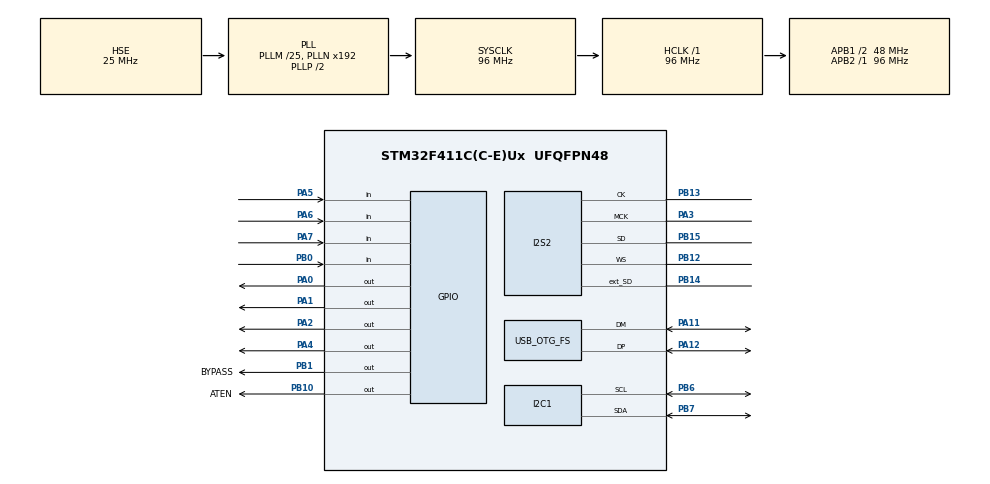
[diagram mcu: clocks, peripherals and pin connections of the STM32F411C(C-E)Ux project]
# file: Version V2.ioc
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Dma.I2S2_EXT_RX.1.Direction=DMA_PERIPH_TO_MEMORY
Dma.I2S2_EXT_RX.1.FIFOMode=DMA_FIFOMODE_DISABLE
Dma.I2S2_EXT_RX.1.Instance=DMA1_Stream3
Dma.I2S2_EXT_RX.1.MemDataAlignment=DMA_MDATAALIGN_HALFWORD
Dma.I2S2_EXT_RX.1.MemInc=DMA_MINC_ENABLE
Dma.I2S2_EXT_RX.1.Mode=DMA_CIRCULAR
Dma.I2S2_EXT_RX.1.PeriphDataAlignment=DMA_PDATAALIGN_HALFWORD
Dma.I2S2_EXT_RX.1.PeriphInc=DMA_PINC_DISABLE
Dma.I2S2_EXT_RX.1.Priority=DMA_PRIORITY_LOW
Dma.Request0=SPI2_TX
Dma.Request1=I2S2_EXT_RX
Dma.SPI2_TX.0.Direction=DMA_MEMORY_TO_PERIPH
Dma.SPI2_TX.0.FIFOMode=DMA_FIFOMODE_DISABLE
Dma.SPI2_TX.0.Instance=DMA1_Stream4
Dma.SPI2_TX.0.MemDataAlignment=DMA_MDATAALIGN_HALFWORD
Dma.SPI2_TX.0.MemInc=DMA_MINC_ENABLE
Dma.SPI2_TX.0.Mode=DMA_CIRCULAR
Dma.SPI2_TX.0.PeriphDataAlignment=DMA_PDATAALIGN_HALFWORD
Dma.SPI2_TX.0.PeriphInc=DMA_PINC_DISABLE
Dma.SPI2_TX.0.Priority=DMA_PRIORITY_LOW
I2S2.AudioFreq=I2S_AUDIOFREQ_96K
I2S2.DataFormat=I2S_DATAFORMAT_24B
I2S2.ErrorAudioFreq=1.72 %
I2S2.FullDuplexMode=I2S_FULLDUPLEXMODE_ENABLE
I2S2.Instance=SPI$Index
I2S2.RealAudioFreq=97.656 KHz
I2S2.VirtualMode=I2S_MODE_MASTER
Mcu.Family=STM32F4
Mcu.Name=STM32F411C(C-E)Ux
Mcu.Package=UFQFPN48
NVIC.DMA1_Stream3_IRQn=true\:0\:0\:false\:false\:true\:false\:true\:true
NVIC.DMA1_Stream4_IRQn=true\:0\:0\:false\:false\:true\:false\:true\:true
NVIC.OTG_FS_IRQn=true\:0\:0\:false\:false\:true\:false\:true\:true
NVIC.PriorityGroup=NVIC_PRIORITYGROUP_4
PA0-WKUP.PinState=GPIO_PIN_SET
PA0-WKUP.Signal=GPIO_Output
PA1.PinState=GPIO_PIN_SET
PA1.Signal=GPIO_Output
PA11.Mode=Device_Only
PA11.Signal=USB_OTG_FS_DM
PA12.Mode=Device_Only
PA12.Signal=USB_OTG_FS_DP
PA13.Mode=Serial_Wire
PA13.Signal=SYS_JTMS-SWDIO
PA14.Mode=Serial_Wire
PA14.Signal=SYS_JTCK-SWCLK
PA2.PinState=GPIO_PIN_SET
PA2.Signal=GPIO_Output
PA3.Mode=Master_Clock_Activated
PA3.Signal=I2S2_MCK
PA4.PinState=GPIO_PIN_SET
PA4.Signal=GPIO_Output
PA5.GPIO_PuPd=GPIO_PULLUP
PA5.Signal=GPIO_Input
PA6.GPIO_PuPd=GPIO_PULLUP
PA6.Signal=GPIO_Input
PA7.GPIO_PuPd=GPIO_PULLUP
PA7.Signal=GPIO_Input
PB0.GPIO_PuPd=GPIO_PULLUP
PB0.Signal=GPIO_Input
PB1.GPIO_Label=BYPASS
PB1.Signal=GPIO_Output
PB10.GPIO_Label=ATEN
PB10.Signal=GPIO_Output
PB12.Mode=Full_Duplex_Master
PB12.Signal=I2S2_WS
PB13.Mode=Full_Duplex_Master
PB13.Signal=I2S2_CK
PB14.Mode=Full_Duplex_Master
PB14.Signal=I2S2_ext_SD
PB15.Mode=Full_Duplex_Master
PB15.Signal=I2S2_SD
PB6.Mode=I2C
PB6.Signal=I2C1_SCL
PB7.Mode=I2C
PB7.Signal=I2C1_SDA
PH0\ -\ OSC_IN.Mode=HSE-External-Oscillator
PH0\ -\ OSC_IN.Signal=RCC_OSC_IN
PH1\ -\ OSC_OUT.Mode=HSE-External-Oscillator
PH1\ -\ OSC_OUT.Signal=RCC_OSC_OUT
ProjectManager.HeapSize=0x200
ProjectManager.StackSize=0x400
ProjectManager.TargetToolchain=STM32CubeIDE
RCC.48MHZClocksFreq_Value=48000000
RCC.AHBFreq_Value=96000000
RCC.APB1CLKDivider=RCC_HCLK_DIV2
RCC.APB1Freq_Value=48000000
RCC.APB1TimFreq_Value=96000000
RCC.APB2Freq_Value=96000000
RCC.APB2TimFreq_Value=96000000
RCC.CortexFreq_Value=96000000
RCC.HCLKFreq_Value=96000000
RCC.HSE_VALUE=25000000
RCC.HSI_VALUE=16000000
RCC.LSE_VALUE=32768
RCC.PLLM=25
RCC.SYSCLKFreq_VALUE=96000000
RCC.SYSCLKSource=RCC_SYSCLKSOURCE_PLLCLK
RCC.VCOOutputFreq_Value=192000000
USB_DEVICE.CLASS_NAME_FS=CDC
USB_DEVICE.VirtualMode=Cdc
USB_DEVICE.VirtualModeFS=Cdc_FS
USB_OTG_FS.VirtualMode=Device_Only
VP_USB_DEVICE_VS_USB_DEVICE_CDC_FS.Mode=CDC_FS
board=custom

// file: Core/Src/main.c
/* USER CODE BEGIN Header */
/**
  ******************************************************************************
  * @file           : main.c
  * @brief          : Main program body
  ******************************************************************************
  * @attention
  *
  * Copyright (c) 2026 STMicroelectronics.
  * All rights reserved.
  *
  * This software is licensed under terms that can be found in the LICENSE file
  * in the root directory of this software component.
  * If no LICENSE file comes with this software, it is provided AS-IS.
  *
  ******************************************************************************
  */
/* USER CODE END Header */
#include "main.h"
#include "usb_device.h"

/* USER CODE BEGIN Includes */
#include "sine_table.h"
#include "waveforms.h"
#include "oled.h"
#include "keypad.h"
#include "stream.h"
#include <math.h>
#include <stdio.h>
/* USER CODE END Includes */

/* USER CODE BEGIN PTD */

typedef enum {

	LEFT,
	RIGHT

}canal_e;

typedef enum {

	OFF,
	ON

}estado_e;
/* USER CODE END PTD */

/* USER CODE BEGIN PD */
#define FS           97656.25          // frecuencia de muestreo real (I2SCLK 100MHz / 1024)

#define FRAMES_HALF  256               // frames estereo por media vuelta del DMA (ritmo de paquetes fs/256 = 381,5 Hz)
#define FRAMES_TOTAL (2 * FRAMES_HALF) // frames en todo el buffer (512)
#define BUF_HW       (FRAMES_TOTAL * 4)// halfwords totales: 2 canales x 2 halfwords c/u (2048)
#define I2S_SIZE     (FRAMES_TOTAL * 2)// tamaño que espera la HAL del I2S (1024)

#define PCM_ADDR     (0x46 << 1)       // direccion I2C del codec (7 bits corridos a 8)

#define I2C_QSIZE    8                 // cola de pedidos I2C que llegan por USB

#define CANAL_ETAPA  RIGHT             // canal que entra a la etapa externa: los pines BYPASS y ATEN siguen a este
#define AMP_ATEN     1                 // 1 % = -40 dB: con esta amplitud atenua la etapa externa (pin ATEN)
#define T_ATEN_MS    20                // espera para que la etapa externa termine de conmutar
/* USER CODE END PD */

I2C_HandleTypeDef hi2c1;

I2S_HandleTypeDef hi2s2;
DMA_HandleTypeDef hdma_spi2_tx;
DMA_HandleTypeDef hdma_i2s2_ext_rx;

/* USER CODE BEGIN PV */
uint32_t          acc[2] = {0, 0};              // acumuladores de fase (uno por canal)
volatile uint32_t ftw[2] = {0, 0};              // FTW de cada canal
volatile uint8_t  canal_seleccionado = LEFT;    // canal que edita el teclado
uint16_t          audio_buf[BUF_HW];            // buffer circular del DMA (DAC, salida)
uint16_t          rx_buf[BUF_HW];               // buffer circular del DMA (ADC, entrada)

// estado del codec (registro 64: bit5 = ADC apagado, bit4 = DAC apagado, bit0 = single-ended)
volatile uint8_t  adc_activo = 1;
volatile uint8_t  dac_activo = 1;

// pedidos de acceso I2C generados desde USB (no se puede bloquear en la interrupcion)
typedef struct { uint8_t op; uint8_t reg; uint8_t val; } i2c_req_t;   // op: 1 = escribir, 2 = leer
static volatile i2c_req_t i2c_q[I2C_QSIZE];
static volatile uint8_t   i2c_q_head = 0, i2c_q_tail = 0;
volatile uint8_t  modo_diferencial = 1;         // 1 = salida diferencial, 0 = single-ended

// parametros de cada canal (los escribe el USB o el teclado)
extern float frecuencia[2];
extern uint32_t amplitud[2];
extern volatile uint8_t salida_activa[2];
/* USER CODE END PV */

void SystemClock_Config(void);
static void MX_GPIO_Init(void);
static void MX_DMA_Init(void);
static void MX_I2C1_Init(void);
static void MX_I2S2_Init(void);
/* USER CODE BEGIN PFP */
static void fill(uint16_t *dst);
static void pcm_write(uint8_t reg, uint8_t val);
static void pcm_update_sys(void);
void codec_i2c_request(uint8_t op, uint8_t reg, uint8_t val);
static void codec_i2c_process(void);
void PCM3060_SetAmplitude(uint8_t canal, uint32_t amplitud);
static uint8_t bypass_pedido(void);
static uint8_t aten_pedida(void);
/* USER CODE END PFP */

int main(void)
{

  /* MCU Configuration--------------------------------------------------------*/

  /* Reset of all peripherals, Initializes the Flash interface and the Systick. */
  HAL_Init();

  /* Configure the system clock */
  SystemClock_Config();

  /* Initialize all configured peripherals */
  MX_GPIO_Init();
  MX_DMA_Init();
  MX_I2C1_Init();
  MX_I2S2_Init();
  MX_USB_DEVICE_Init();
  /* USER CODE BEGIN 2 */
  // FTW inicial de cada canal
  ftw[0] = (uint32_t)(frecuencia[0] * 4294967296.0 / FS);
  ftw[1] = (uint32_t)(frecuencia[1] * 4294967296.0 / FS);

  // cargo las dos mitades del buffer antes de largar el DMA
  fill(&audio_buf[0]);
  fill(&audio_buf[BUF_HW / 2]);

  // I2S full duplex por DMA en modo circular: DAC sale por audio_buf, ADC entra por rx_buf
  HAL_I2SEx_TransmitReceive_DMA(&hi2s2, audio_buf, rx_buf, I2S_SIZE);

  // margen para que el codec estabilice sus relojes internos
  HAL_Delay(50);

  // configuracion del codec por I2C
  pcm_write(72, 0x00);   // reg 72: ADC esclavo, I2S 24 bits (el STM32 es el maestro del bus)
  // el volumen va antes de encender el DAC: asi arranca en la amplitud inicial, sin pasar por 0 dB
  PCM3060_SetAmplitude(0, amplitud[0]);   // reg 65: volumen DAC L
  PCM3060_SetAmplitude(1, amplitud[1]);   // reg 66: volumen DAC R
  pcm_update_sys();      // reg 64: ADC y DAC encendidos, modo diferencial
  pcm_write(68, 0x40);   // reg 68: sobremuestreo doble (64x a 96 kHz)

  oled_init();
  chirp_config(0, 200.0f, 2000.0f, 1.0f);   // barrido inicial: 200 Hz -> 2 kHz en 1 s
  chirp_config(1, 200.0f, 2000.0f, 1.0f);
  keypad_init();
  /* USER CODE END 2 */

  /* Infinite loop */
  while (1)
  {

    /* USER CODE BEGIN 3 */

   // recalculo el FTW de cada canal a partir de su frecuencia
   ftw[0] = (uint32_t)(frecuencia[0] * 4294967296.0 / FS);
   ftw[1] = (uint32_t)(frecuencia[1] * 4294967296.0 / FS);

   // etapa atenuadora externa (pin ATEN): en -40 dB atenua ella y el codec vuelve a 0 dB, asi el ruido
   // de la salida tambien baja. El orden evita un pico de volumen: al entrar conmuta primero la etapa
   // y despues sube el codec; al salir baja primero el codec y despues se saca la etapa.
   static uint8_t last_aten = 0;
   uint8_t aten = aten_pedida();
   uint8_t cambio_aten = (aten != last_aten);
   last_aten = aten;
   if (cambio_aten && aten) {
       HAL_GPIO_WritePin(ATEN_GPIO_Port, ATEN_Pin, GPIO_PIN_SET);
       HAL_Delay(T_ATEN_MS);
   }

   // amplitud: se escribe al codec por I2C solo cuando cambia, para no saturar el bus
   static uint32_t last_amp[2] = { 0xFFFFFFFF, 0xFFFFFFFF };
   for (int c = 0; c < 2; c++) {
       uint8_t es_etapa = (c == CANAL_ETAPA);
       if (amplitud[c] != last_amp[c] || (es_etapa && cambio_aten)) {
           last_amp[c] = amplitud[c];
           // volumen de ese canal (registro del codec)
           PCM3060_SetAmplitude(c, (es_etapa && aten) ? 100 : last_amp[c]);
       }
   }

   if (cambio_aten && !aten) {
       HAL_Delay(T_ATEN_MS);
       HAL_GPIO_WritePin(ATEN_GPIO_Port, ATEN_Pin, GPIO_PIN_RESET);
   }

   // estado del codec (diferencial / single-ended, ADC y DAC on/off): se aplica solo cuando cambia
   static uint8_t last_modo = 0xFF, last_adc = 0xFF, last_dac = 0xFF;
   if (modo_diferencial != last_modo || adc_activo != last_adc || dac_activo != last_dac) {
       last_modo = modo_diferencial;
       last_adc  = adc_activo;
       last_dac  = dac_activo;
       pcm_update_sys();
   }

   // accesos I2C pedidos por la PC (escritura / lectura de registros del codec)
   codec_i2c_process();

   // bypass del filtro de la etapa siguiente (pin BYPASS)
   HAL_GPIO_WritePin(BYPASS_GPIO_Port, BYPASS_Pin, bypass_pedido() ? GPIO_PIN_SET : GPIO_PIN_RESET);

   // teclado: escaneo cada 20 ms
   static uint32_t last_key = 0;
   if (HAL_GetTick() - last_key >= 20) {
       last_key = HAL_GetTick();
       keypad_process();
   }

   // refresco del OLED cada 200 ms
   static uint32_t last_oled = 0;
   if (HAL_GetTick() - last_oled >= 200) {
       last_oled = HAL_GetTick();
       oled_show(canal_seleccionado, waveform[canal_seleccionado],
                 (uint32_t)frecuencia[canal_seleccionado], (uint8_t)amplitud[canal_seleccionado],
                 keypad_get_mode(), keypad_get_input());
   }
  }
  /* USER CODE END 3 */
}

void SystemClock_Config(void)
{
  RCC_OscInitTypeDef RCC_OscInitStruct = {0};
  RCC_ClkInitTypeDef RCC_ClkInitStruct = {0};

  /** Configure the main internal regulator output voltage
  */
  __HAL_RCC_PWR_CLK_ENABLE();
  __HAL_PWR_VOLTAGESCALING_CONFIG(PWR_REGULATOR_VOLTAGE_SCALE1);

  /** Initializes the RCC Oscillators according to the specified parameters
  * in the RCC_OscInitTypeDef structure.
  */
  RCC_OscInitStruct.OscillatorType = RCC_OSCILLATORTYPE_HSE;
  RCC_OscInitStruct.HSEState = RCC_HSE_ON;
  RCC_OscInitStruct.PLL.PLLState = RCC_PLL_ON;
  RCC_OscInitStruct.PLL.PLLSource = RCC_PLLSOURCE_HSE;
  RCC_OscInitStruct.PLL.PLLM = 25;
  RCC_OscInitStruct.PLL.PLLN = 192;
  RCC_OscInitStruct.PLL.PLLP = RCC_PLLP_DIV2;
  RCC_OscInitStruct.PLL.PLLQ = 4;
  if (HAL_RCC_OscConfig(&RCC_OscInitStruct) != HAL_OK)
  {
    Error_Handler();
  }

  /** Initializes the CPU, AHB and APB buses clocks
  */
  RCC_ClkInitStruct.ClockType = RCC_CLOCKTYPE_HCLK|RCC_CLOCKTYPE_SYSCLK
                              |RCC_CLOCKTYPE_PCLK1|RCC_CLOCKTYPE_PCLK2;
  RCC_ClkInitStruct.SYSCLKSource = RCC_SYSCLKSOURCE_PLLCLK;
  RCC_ClkInitStruct.AHBCLKDivider = RCC_SYSCLK_DIV1;
  RCC_ClkInitStruct.APB1CLKDivider = RCC_HCLK_DIV2;
  RCC_ClkInitStruct.APB2CLKDivider = RCC_HCLK_DIV1;

  if (HAL_RCC_ClockConfig(&RCC_ClkInitStruct, FLASH_LATENCY_3) != HAL_OK)
  {
    Error_Handler();
  }
}

static void MX_I2C1_Init(void)
{

  hi2c1.Instance = I2C1;
  hi2c1.Init.ClockSpeed = 100000;
  hi2c1.Init.DutyCycle = I2C_DUTYCYCLE_2;
  hi2c1.Init.OwnAddress1 = 0;
  hi2c1.Init.AddressingMode = I2C_ADDRESSINGMODE_7BIT;
  hi2c1.Init.DualAddressMode = I2C_DUALADDRESS_DISABLE;
  hi2c1.Init.OwnAddress2 = 0;
  hi2c1.Init.GeneralCallMode = I2C_GENERALCALL_DISABLE;
  hi2c1.Init.NoStretchMode = I2C_NOSTRETCH_DISABLE;
  if (HAL_I2C_Init(&hi2c1) != HAL_OK)
  {
    Error_Handler();
  }

}

static void MX_I2S2_Init(void)
{

  hi2s2.Instance = SPI2;
  hi2s2.Init.Mode = I2S_MODE_MASTER_TX;
  hi2s2.Init.Standard = I2S_STANDARD_PHILIPS;
  hi2s2.Init.DataFormat = I2S_DATAFORMAT_24B;
  hi2s2.Init.MCLKOutput = I2S_MCLKOUTPUT_ENABLE;
  hi2s2.Init.AudioFreq = I2S_AUDIOFREQ_96K;
  hi2s2.Init.CPOL = I2S_CPOL_LOW;
  hi2s2.Init.ClockSource = I2S_CLOCK_PLL;
  hi2s2.Init.FullDuplexMode = I2S_FULLDUPLEXMODE_ENABLE;
  if (HAL_I2S_Init(&hi2s2) != HAL_OK)
  {
    Error_Handler();
  }

}

static void MX_DMA_Init(void)
{

  /* DMA controller clock enable */
  __HAL_RCC_DMA1_CLK_ENABLE();

  /* DMA interrupt init */
  /* DMA1_Stream3_IRQn interrupt configuration */
  HAL_NVIC_SetPriority(DMA1_Stream3_IRQn, 0, 0);
  HAL_NVIC_EnableIRQ(DMA1_Stream3_IRQn);
  /* DMA1_Stream4_IRQn interrupt configuration */
  HAL_NVIC_SetPriority(DMA1_Stream4_IRQn, 0, 0);
  HAL_NVIC_EnableIRQ(DMA1_Stream4_IRQn);

}

static void MX_GPIO_Init(void)
{
  GPIO_InitTypeDef GPIO_InitStruct = {0};

  /* GPIO Ports Clock Enable */
  __HAL_RCC_GPIOH_CLK_ENABLE();
  __HAL_RCC_GPIOA_CLK_ENABLE();
  __HAL_RCC_GPIOB_CLK_ENABLE();

  /*Configure GPIO pin Output Level */
  HAL_GPIO_WritePin(GPIOA, GPIO_PIN_0|GPIO_PIN_1|GPIO_PIN_2|GPIO_PIN_4, GPIO_PIN_SET);

  /*Configure GPIO pin Output Level */
  HAL_GPIO_WritePin(GPIOB, BYPASS_Pin|ATEN_Pin, GPIO_PIN_RESET);

  /*Configure GPIO pins : PA0 PA1 PA2 PA4 */
  GPIO_InitStruct.Pin = GPIO_PIN_0|GPIO_PIN_1|GPIO_PIN_2|GPIO_PIN_4;
  GPIO_InitStruct.Mode = GPIO_MODE_OUTPUT_PP;
  GPIO_InitStruct.Pull = GPIO_NOPULL;
  GPIO_InitStruct.Speed = GPIO_SPEED_FREQ_LOW;
  HAL_GPIO_Init(GPIOA, &GPIO_InitStruct);

  /*Configure GPIO pins : PA5 PA6 PA7 */
  GPIO_InitStruct.Pin = GPIO_PIN_5|GPIO_PIN_6|GPIO_PIN_7;
  GPIO_InitStruct.Mode = GPIO_MODE_INPUT;
  GPIO_InitStruct.Pull = GPIO_PULLUP;
  HAL_GPIO_Init(GPIOA, &GPIO_InitStruct);

  /*Configure GPIO pin : PB0 */
  GPIO_InitStruct.Pin = GPIO_PIN_0;
  GPIO_InitStruct.Mode = GPIO_MODE_INPUT;
  GPIO_InitStruct.Pull = GPIO_PULLUP;
  HAL_GPIO_Init(GPIOB, &GPIO_InitStruct);

  /*Configure GPIO pins : BYPASS_Pin ATEN_Pin */
  GPIO_InitStruct.Pin = BYPASS_Pin|ATEN_Pin;
  GPIO_InitStruct.Mode = GPIO_MODE_OUTPUT_PP;
  GPIO_InitStruct.Pull = GPIO_NOPULL;
  GPIO_InitStruct.Speed = GPIO_SPEED_FREQ_LOW;
  HAL_GPIO_Init(GPIOB, &GPIO_InitStruct);

}

/* USER CODE BEGIN 4 */
// Llena una mitad del buffer: FRAMES_HALF frames estereo
static void fill(uint16_t *dst)
{
    for (int i = 0; i < FRAMES_HALF; i++)
    {
        int32_t s[2];                 // una muestra de 24 bits por canal (L y R)

        for (int c = 0; c < 2; c++)
        {
            int32_t v = wave_next(c);                  // muestra segun la forma de onda del canal
            if (!salida_activa[c]) v = 0;              // canal apagado -> silencio
            s[c] = v;
        }

        // cada muestra de 24 bits se parte en 2 halfwords, MSB primero
        *dst++ = (uint16_t)(s[0] >> 8);   // L: bits altos
        *dst++ = (uint16_t)(s[0] << 8);   // L: bits bajos
        *dst++ = (uint16_t)(s[1] >> 8);   // R: bits altos
        *dst++ = (uint16_t)(s[1] << 8);   // R: bits bajos
    }
}

// full duplex: RX y TX circulan sincronizados, asi que con el evento del RX
// se re-llena la mitad de TX que se acaba de vaciar y se procesa la mitad de RX que se acaba de llenar

// 1a mitad lista
void HAL_I2SEx_TxRxHalfCpltCallback(I2S_HandleTypeDef *hi2s)
{
    fill(&audio_buf[0]);
    stream_push_audio(&rx_buf[0], FRAMES_HALF);
}

// 2a mitad lista
void HAL_I2SEx_TxRxCpltCallback(I2S_HandleTypeDef *hi2s)
{
    fill(&audio_buf[BUF_HW / 2]);
    stream_push_audio(&rx_buf[BUF_HW / 2], FRAMES_HALF);
}

// escribe un byte en un registro del codec por I2C
static void pcm_write(uint8_t reg, uint8_t val)
{
    uint8_t buf[2] = { reg, val };
    HAL_I2C_Master_Transmit(&hi2c1, PCM_ADDR, buf, 2, 100);
}

// registro 64 del codec: MRST|SRST siempre en 1, ADPSV (bit5) apaga el ADC, DAPSV (bit4) apaga el DAC,
// S/E (bit0) = 0 diferencial / 1 single-ended
static void pcm_update_sys(void)
{
    uint8_t v = 0xC0;
    if (!adc_activo)      v |= 0x20;
    if (!dac_activo)      v |= 0x10;
    if (!modo_diferencial) v |= 0x01;
    pcm_write(64, v);
}

// encola un pedido de acceso I2C (lo llama el parser USB, en interrupcion)
void codec_i2c_request(uint8_t op, uint8_t reg, uint8_t val)
{
    uint8_t next = (i2c_q_head + 1) % I2C_QSIZE;
    if (next == i2c_q_tail)
        return;                                 // cola llena: se descarta
    i2c_q[i2c_q_head].op  = op;
    i2c_q[i2c_q_head].reg = reg;
    i2c_q[i2c_q_head].val = val;
    i2c_q_head = next;
}

// atiende la cola desde el lazo principal
static void codec_i2c_process(void)
{
    while (i2c_q_tail != i2c_q_head)
    {
        i2c_req_t r = { i2c_q[i2c_q_tail].op, i2c_q[i2c_q_tail].reg, i2c_q[i2c_q_tail].val };
        i2c_q_tail = (i2c_q_tail + 1) % I2C_QSIZE;

        char msg[40];
        if (r.op == 1)
        {
            pcm_write(r.reg, r.val);
            snprintf(msg, sizeof(msg), "I2CW %u=0x%02X", r.reg, r.val);
        }
        else
        {
            uint8_t v = 0;
            if (HAL_I2C_Mem_Read(&hi2c1, PCM_ADDR, r.reg, I2C_MEMADD_SIZE_8BIT, &v, 1, 100) == HAL_OK)
                snprintf(msg, sizeof(msg), "I2CR %u=0x%02X", r.reg, v);
            else
                snprintf(msg, sizeof(msg), "I2CR %u=ERR", r.reg);
        }
        stream_push_text(msg);
    }
}

// convierte la amplitud en % a la atenuacion del codec y la escribe
void PCM3060_SetAmplitude(uint8_t canal, uint32_t amplitud)
{
    uint8_t reg = (canal == 0) ? 0x41 : 0x42;   // 0x41 = DAC L, 0x42 = DAC R

    if (amplitud == 0)
    {
        pcm_write(reg, 0x00);   // mute de ese canal
        return;
    }

    if (amplitud > 100)
        amplitud = 100;

    float A = amplitud / 100.0f;
    float db = 20.0f * log10f(A);          // % -> dB
    int pasos = (int)roundf(-db / 0.5f);   // cada paso del registro son 0.5 dB
    uint8_t valor = 255 - pasos;           // 0xFF = 0 dB, baja de a 0.5 dB

    pcm_write(reg, valor);
}

// Bypass: alto mientras el canal de la etapa este encendido y saque la cuadrada
static uint8_t bypass_pedido(void)
{
    return salida_activa[CANAL_ETAPA] && waveform[CANAL_ETAPA] == WAVE_SQUARE;
}

// Atenuador: alto mientras el canal de la etapa este encendido y en -40 dB
static uint8_t aten_pedida(void)
{
    return salida_activa[CANAL_ETAPA] && amplitud[CANAL_ETAPA] == AMP_ATEN;
}
/* USER CODE END 4 */

void Error_Handler(void)
{
  __disable_irq();
  while (1)
  {
  }
}
